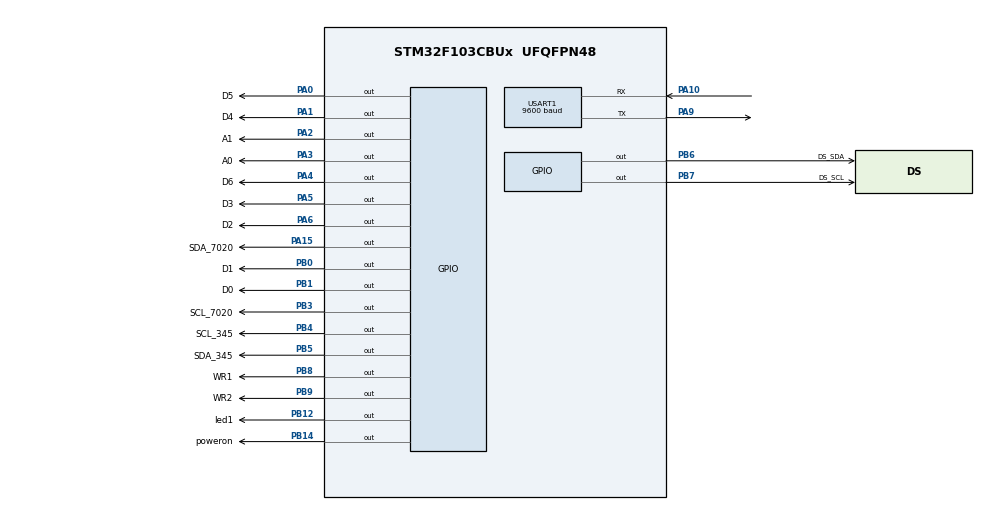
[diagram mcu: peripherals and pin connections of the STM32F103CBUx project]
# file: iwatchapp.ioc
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Mcu.Family=STM32F1
Mcu.Name=STM32F103CBUx
Mcu.Package=UFQFPN48
NVIC.PriorityGroup=NVIC_PRIORITYGROUP_4
NVIC.TIM2_IRQn=true\:0\:0\:false\:false\:true\:true
NVIC.USART1_IRQn=true\:0\:0\:false\:false\:true\:true
PA0-WKUP.GPIO_Label=D5
PA0-WKUP.GPIO_Speed=GPIO_SPEED_FREQ_HIGH
PA0-WKUP.Signal=GPIO_Output
PA1.GPIO_Label=D4
PA1.GPIO_Speed=GPIO_SPEED_FREQ_HIGH
PA1.Signal=GPIO_Output
PA10.Mode=Asynchronous
PA10.Signal=USART1_RX
PA13.Mode=Serial_Wire
PA13.Signal=SYS_JTMS-SWDIO
PA14.Mode=Serial_Wire
PA14.Signal=SYS_JTCK-SWCLK
PA15.GPIO_Label=SDA_7020
PA15.GPIO_ModeDefaultOutputPP=GPIO_MODE_OUTPUT_OD
PA15.GPIO_Speed=GPIO_SPEED_FREQ_HIGH
PA15.PinState=GPIO_PIN_SET
PA15.Signal=GPIO_Output
PA2.GPIO_Label=A1
PA2.GPIO_Speed=GPIO_SPEED_FREQ_HIGH
PA2.Signal=GPIO_Output
PA3.GPIO_Label=A0
PA3.GPIO_Speed=GPIO_SPEED_FREQ_HIGH
PA3.Signal=GPIO_Output
PA4.GPIO_Label=D6
PA4.GPIO_Speed=GPIO_SPEED_FREQ_HIGH
PA4.Signal=GPIO_Output
PA5.GPIO_Label=D3
PA5.GPIO_Speed=GPIO_SPEED_FREQ_HIGH
PA5.Signal=GPIO_Output
PA6.GPIO_Label=D2
PA6.GPIO_Speed=GPIO_SPEED_FREQ_HIGH
PA6.Signal=GPIO_Output
PA9.Mode=Asynchronous
PA9.Signal=USART1_TX
PB0.GPIO_Label=D1
PB0.GPIO_Speed=GPIO_SPEED_FREQ_HIGH
PB0.Signal=GPIO_Output
PB1.GPIO_Label=D0
PB1.GPIO_Speed=GPIO_SPEED_FREQ_HIGH
PB1.Signal=GPIO_Output
PB12.GPIO_Label=led1
PB12.PinState=GPIO_PIN_RESET
PB12.Signal=GPIO_Output
PB14.GPIO_Label=poweron
PB14.Signal=GPIO_Output
PB3.GPIO_Label=SCL_7020
PB3.GPIO_ModeDefaultOutputPP=GPIO_MODE_OUTPUT_OD
PB3.GPIO_Speed=GPIO_SPEED_FREQ_HIGH
PB3.PinState=GPIO_PIN_SET
PB3.Signal=GPIO_Output
PB4.GPIO_Label=SCL_345
PB4.GPIO_ModeDefaultOutputPP=GPIO_MODE_OUTPUT_OD
PB4.GPIO_Speed=GPIO_SPEED_FREQ_HIGH
PB4.PinState=GPIO_PIN_SET
PB4.Signal=GPIO_Output
PB5.GPIO_Label=SDA_345
PB5.GPIO_ModeDefaultOutputPP=GPIO_MODE_OUTPUT_OD
PB5.GPIO_Speed=GPIO_SPEED_FREQ_HIGH
PB5.PinState=GPIO_PIN_SET
PB5.Signal=GPIO_Output
PB6.GPIO_Label=DS_SDA
PB6.GPIO_ModeDefaultOutputPP=GPIO_MODE_OUTPUT_OD
PB6.GPIO_Speed=GPIO_SPEED_FREQ_HIGH
PB6.PinState=GPIO_PIN_SET
PB6.Signal=GPIO_Output
PB7.GPIO_Label=DS_SCL
PB7.GPIO_ModeDefaultOutputPP=GPIO_MODE_OUTPUT_OD
PB7.GPIO_Speed=GPIO_SPEED_FREQ_HIGH
PB7.PinState=GPIO_PIN_SET
PB7.Signal=GPIO_Output
PB8.GPIO_Label=WR1
PB8.GPIO_ModeDefaultOutputPP=GPIO_MODE_OUTPUT_PP
PB8.GPIO_Speed=GPIO_SPEED_FREQ_HIGH
PB8.PinState=GPIO_PIN_RESET
PB8.Signal=GPIO_Output
PB9.GPIO_Label=WR2
PB9.GPIO_ModeDefaultOutputPP=GPIO_MODE_OUTPUT_OD
PB9.GPIO_Speed=GPIO_SPEED_FREQ_HIGH
PB9.PinState=GPIO_PIN_SET
PB9.Signal=GPIO_Output
ProjectManager.HeapSize=0x200
ProjectManager.StackSize=0x400
ProjectManager.TargetToolchain=MDK-ARM V5
RCC.APB1Freq_Value=8000000
RCC.APB2Freq_Value=8000000
TIM2.Period=100
TIM2.Prescaler=80
USART1.BaudRate=9600
USART1.VirtualMode=VM_ASYNC
VP_TIM2_VS_ClockSourceINT.Mode=Internal
board=custom

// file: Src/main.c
/* USER CODE BEGIN Header */
/**
  ******************************************************************************
  * @file           : main.c
  * @brief          : Main program body
  ******************************************************************************
  ** This notice applies to any and all portions of this file
  * that are not between comment pairs USER CODE BEGIN and
  * USER CODE END. Other portions of this file, whether
  * inserted by the user or by software development tools
  * are owned by their respective copyright owners.
  *
  * COPYRIGHT(c) 2020 STMicroelectronics
  *
  * Redistribution and use in source and binary forms, with or without modification,
  * are permitted provided that the following conditions are met:
  *   1. Redistributions of source code must retain the above copyright notice,
  *      this list of conditions and the following disclaimer.
  *   2. Redistributions in binary form must reproduce the above copyright notice,
  *      this list of conditions and the following disclaimer in the documentation
  *      and/or other materials provided with the distribution.
  *   3. Neither the name of STMicroelectronics nor the names of its contributors
  *      may be used to endorse or promote products derived from this software
  *      without specific prior written permission.
  *
  * THIS SOFTWARE IS PROVIDED BY THE COPYRIGHT HOLDERS AND CONTRIBUTORS "AS IS"
  * AND ANY EXPRESS OR IMPLIED WARRANTIES, INCLUDING, BUT NOT LIMITED TO, THE
  * IMPLIED WARRANTIES OF MERCHANTABILITY AND FITNESS FOR A PARTICULAR PURPOSE ARE
  * DISCLAIMED. IN NO EVENT SHALL THE COPYRIGHT HOLDER OR CONTRIBUTORS BE LIABLE
  * FOR ANY DIRECT, INDIRECT, INCIDENTAL, SPECIAL, EXEMPLARY, OR CONSEQUENTIAL
  * DAMAGES (INCLUDING, BUT NOT LIMITED TO, PROCUREMENT OF SUBSTITUTE GOODS OR
  * SERVICES; LOSS OF USE, DATA, OR PROFITS; OR BUSINESS INTERRUPTION) HOWEVER
  * CAUSED AND ON ANY THEORY OF LIABILITY, WHETHER IN CONTRACT, STRICT LIABILITY,
  * OR TORT (INCLUDING NEGLIGENCE OR OTHERWISE) ARISING IN ANY WAY OUT OF THE USE
  * OF THIS SOFTWARE, EVEN IF ADVISED OF THE POSSIBILITY OF SUCH DAMAGE.
  *
  ******************************************************************************
  */
/* USER CODE END Header */

#include "main.h"

/* USER CODE BEGIN Includes */

#include "stdlib.h"
#include "string.h"
#include "HPDL1414.h"
#include "DS3231.h"
#include "sys.h"
#include "delay.h"
#include "si7020.h"
//#include "mpuiic.h"
#include "myiic.h"
#include "ADXL345.h"
#include <stdio.h>
#include <math.h>
#include "adxl345.h"
#define MAX              0x39            //??????
#define MIN              0x30             //??????
//#include "inv_mpu.h"
//#include "inv_mpu_dmp_motion_driver.h"
/* USER CODE END Includes */

/* USER CODE BEGIN PTD */
void showTemperture(void);
void showHumidity(void);
void showtime(void);
void showdata(void);
//void showtemp(void);
void showweek(void);
void hextoascii(int16_t num,u8 *word);
void showfrist(void);
unsigned int random(void);
void init_all(void);
void weakupshow(void);
//void wifi_bt_on(void);
void SendAtCommand(char *patcm);
void Sendword(char *patcm);
void showsteps(void);
void getzero(void);
void SleepMode_Measure(void);
/* USER CODE END PTD */

TIM_HandleTypeDef htim2;

UART_HandleTypeDef huart1;

void SystemClock_Config(void);
static void MX_GPIO_Init(void);
static void MX_USART1_UART_Init(void);
static void MX_TIM2_Init(void);

/* USER CODE BEGIN 0 */
struct stuff{
        char time;
        char Temperture;
	      char Humidity;
	      char jd;
	      char onshow;
	      char okon;//用于限制0度时一直显示
	      char bluetoothon;
	      char steps;
}flag;
u8  Angle[6];
u8 aacx[2];
u8 word1[8]={' ',' ',' ',' ',' ',' ',' ',' '};
char *wifi1="RAYPAI";
char *code1="56831513";
int v=40;
short test2=0;
int16_t Temperture=0;
int16_t Temperture1=0;
int16_t Humidity=0;
int16_t Humidity1=0;
int16_t t1=0;
int daytemp=0;//用于判断是否过了一天，如果过了一天则清零步数
int timenum=0;
int stepsnum=0;
int buletoothnum=0;
char jdnum=0;
int16_t onshownum=0;
int RxBuffernum=0;
char breakflag=0;
char StartRx0=0;//防止串口被打断
int16_t Temperturenum=0;
u8 rbuf[6];
uint8_t blueTxBuffer[20];
uint8_t wifiTxBuffer[200];
uint8_t blueRxBuffer[20];
uint8_t wifiRxBuffer[200];
u8 devid=0;

/* 传感器数据修正值（消除芯片固定误差） */
/* 坐标角度结构体 */
short int Acc_X=0,Acc_Y=0,Acc_Z=0;
double Angle_X=0,Angle_Y=0,Angle_Z=0;
//void ADXL345_Get_Angle(ADXL345_Angle *data);
//int16_t Humiditynum=0;
/* USER CODE END 0 */

int main(void)
{
  /* USER CODE BEGIN 1 */
  //	MPU6050_Angle data;
  //	int i=0;
  flag.time=0;
  flag.Humidity=0;
  flag.Temperture=0;
	 flag.onshow=0;
	 flag.jd=0;
  /* USER CODE END 1 */

  /* MCU Configuration--------------------------------------------------------*/

  /* Reset of all peripherals, Initializes the Flash interface and the Systick. */
  HAL_Init();

  /* Configure the system clock */
  SystemClock_Config();

  /* Initialize all configured peripherals */
  MX_GPIO_Init();
  MX_USART1_UART_Init();
  MX_TIM2_Init();
  /* USER CODE BEGIN 2 */
  HAL_TIM_Base_Start_IT(&htim2);
	//HAL_UART_Receive_IT(&huart3,(uint8_t *)&wifiRxBuffer[RxBuffernum],1);
	showfrist();
	init_all();
	SleepMode_Measure();
//	getzero();
	//HAL_GPIO_WritePin(GPIOB, poweron_Pin, GPIO_PIN_SET);
//	wifi_bt_on();

  /* USER CODE END 2 */

  /* Infinite loop */
  /* USER CODE BEGIN WHILE */
  while (1)
  {
if(flag.bluetoothon==1)
{
			if(HAL_UART_Receive_IT(&huart1,(uint8_t *)&blueRxBuffer,15)==0)	//命令要发两遍
  {
  if(blueRxBuffer[0]==0x54)
	{
	//HAL_UART_Receive_IT(&huart1,(uint8_t *)&aRxBuffer+1,14);
	if((blueRxBuffer[1]==0x01)&&(blueRxBuffer[14]==0x64))
	{
    blueRxBuffer[3]=(blueRxBuffer[3]/16)*10+(blueRxBuffer[3]%16);
 	  blueRxBuffer[4]=(blueRxBuffer[4]/16)*10+(blueRxBuffer[4]%16);
		blueRxBuffer[5]=(blueRxBuffer[5]/16)*10+(blueRxBuffer[5]%16);
		blueRxBuffer[6]=(blueRxBuffer[6]/16)*10+(blueRxBuffer[6]%16);
		blueRxBuffer[7]=(blueRxBuffer[7]/16)*10+(blueRxBuffer[7]%16);
		blueRxBuffer[8]=(blueRxBuffer[8]/16)*10+(blueRxBuffer[8]%16);
		blueRxBuffer[9]=(blueRxBuffer[9]/16)*10+(blueRxBuffer[9]%16);
    DS3231_Set(blueRxBuffer[3],blueRxBuffer[4],blueRxBuffer[5],blueRxBuffer[6],blueRxBuffer[7],blueRxBuffer[8],blueRxBuffer[9]);
		memset(blueRxBuffer,0x00,20);
		get_show_time();
		HAL_GPIO_WritePin(GPIOB, led1_Pin, GPIO_PIN_SET);
	  flag.onshow=1;//开显示
		//flag.bluetoothon=1;//开蓝牙
		flag.okon=0;  //关闭标志位用来限制一直显示
		showfrist();
    calendar.hour&=0x3f;
    word1[0]=BCD2ASC_H(calendar.hour);
    word1[1]=BCD2ASC_L(calendar.hour);
    word1[2]='-';
    word1[3]=BCD2ASC_H(calendar.min);
    word1[4]=BCD2ASC_L(calendar.min);
    word1[5]='-';
    word1[6]=BCD2ASC_H(calendar.sec);
    word1[7]=BCD2ASC_L(calendar.sec);
    HPDL1414_show(word1);
		weakupshow();
  }
	}
  if(blueRxBuffer[0]=='O'&&blueRxBuffer[1]=='K')
		{
			memset(blueRxBuffer,0x00,20);
		}
      memset(blueRxBuffer,0x00,20);
  }

}

	if(flag.jd==1)
	{
    flag.jd=0;
		ADXL345_Read_Angle();
		//jibu
		if((Angle[2]=='-')&&(Angle[3]>=0x10))
		{
		flag.steps=1;
		}
		if((Angle[2]==' ')&&(flag.steps==1)&&(Angle[3]>=0x10))
		{
		flag.steps=0;
		stepsnum++;
    if(stepsnum>=50000)
		{
		stepsnum=0;
		}
		}

		//huanxing
		if((Angle[3]<0x15)&&(Angle[2]==' '))
		{
		if(flag.okon==1)
		{
		get_show_time();
		HAL_GPIO_WritePin(GPIOB, led1_Pin, GPIO_PIN_SET);
		flag.onshow=1;//开显示
		flag.bluetoothon=1;//开蓝牙
		MX_USART1_UART_Init();
	  HAL_GPIO_WritePin(GPIOB,poweron_Pin, GPIO_PIN_SET);
   	HAL_GPIO_WritePin(GPIOA, GPIO_PIN_10, GPIO_PIN_SET);
    HAL_GPIO_WritePin(GPIOA, GPIO_PIN_9, GPIO_PIN_SET);
	  __HAL_RCC_GPIOA_CLK_ENABLE();
    MX_USART1_UART_Init();
		flag.okon=0;  //关闭标志位用来限制一直显示
		showfrist();
    calendar.hour&=0x3f;
    word1[0]=BCD2ASC_H(calendar.hour);
    word1[1]=BCD2ASC_L(calendar.hour);
    word1[2]='-';
    word1[3]=BCD2ASC_H(calendar.min);
    word1[4]=BCD2ASC_L(calendar.min);
    word1[5]='-';
    word1[6]=BCD2ASC_H(calendar.sec);
    word1[7]=BCD2ASC_L(calendar.sec);
    HPDL1414_show(word1);
		}
		}
		else if((Angle[3]>0x2d))
		{
		flag.okon=1;
		}
	}
   if(flag.onshow==1)
	 {
	  weakupshow();
	 }
	 else
	 {

	 }
	//SleepMode_Measure();//digonghao
//led1_Pin
	//HAL_GPIO_WritePin(GPIOB, poweron_Pin, GPIO_PIN_RESET);
    /* USER CODE END WHILE */

  }
}

void SystemClock_Config(void)
{
  RCC_OscInitTypeDef RCC_OscInitStruct = {0};
  RCC_ClkInitTypeDef RCC_ClkInitStruct = {0};

  /**Initializes the CPU, AHB and APB busses clocks
  */
  RCC_OscInitStruct.OscillatorType = RCC_OSCILLATORTYPE_HSI;
  RCC_OscInitStruct.HSIState = RCC_HSI_ON;
  RCC_OscInitStruct.HSICalibrationValue = RCC_HSICALIBRATION_DEFAULT;
  RCC_OscInitStruct.PLL.PLLState = RCC_PLL_NONE;
  if (HAL_RCC_OscConfig(&RCC_OscInitStruct) != HAL_OK)
  {
    Error_Handler();
  }
  /**Initializes the CPU, AHB and APB busses clocks
  */
  RCC_ClkInitStruct.ClockType = RCC_CLOCKTYPE_HCLK|RCC_CLOCKTYPE_SYSCLK
                              |RCC_CLOCKTYPE_PCLK1|RCC_CLOCKTYPE_PCLK2;
  RCC_ClkInitStruct.SYSCLKSource = RCC_SYSCLKSOURCE_HSI;
  RCC_ClkInitStruct.AHBCLKDivider = RCC_SYSCLK_DIV1;
  RCC_ClkInitStruct.APB1CLKDivider = RCC_HCLK_DIV1;
  RCC_ClkInitStruct.APB2CLKDivider = RCC_HCLK_DIV1;

  if (HAL_RCC_ClockConfig(&RCC_ClkInitStruct, FLASH_LATENCY_0) != HAL_OK)
  {
    Error_Handler();
  }
}

static void MX_TIM2_Init(void)
{

  TIM_ClockConfigTypeDef sClockSourceConfig = {0};
  TIM_MasterConfigTypeDef sMasterConfig = {0};

  htim2.Instance = TIM2;
  htim2.Init.Prescaler = 80;
  htim2.Init.CounterMode = TIM_COUNTERMODE_UP;
  htim2.Init.Period = 100;
  htim2.Init.ClockDivision = TIM_CLOCKDIVISION_DIV1;
  htim2.Init.AutoReloadPreload = TIM_AUTORELOAD_PRELOAD_DISABLE;
  if (HAL_TIM_Base_Init(&htim2) != HAL_OK)
  {
    Error_Handler();
  }
  sClockSourceConfig.ClockSource = TIM_CLOCKSOURCE_INTERNAL;
  if (HAL_TIM_ConfigClockSource(&htim2, &sClockSourceConfig) != HAL_OK)
  {
    Error_Handler();
  }
  sMasterConfig.MasterOutputTrigger = TIM_TRGO_RESET;
  sMasterConfig.MasterSlaveMode = TIM_MASTERSLAVEMODE_DISABLE;
  if (HAL_TIMEx_MasterConfigSynchronization(&htim2, &sMasterConfig) != HAL_OK)
  {
    Error_Handler();
  }

}

static void MX_USART1_UART_Init(void)
{

  huart1.Instance = USART1;
  huart1.Init.BaudRate = 9600;
  huart1.Init.WordLength = UART_WORDLENGTH_8B;
  huart1.Init.StopBits = UART_STOPBITS_1;
  huart1.Init.Parity = UART_PARITY_NONE;
  huart1.Init.Mode = UART_MODE_TX_RX;
  huart1.Init.HwFlowCtl = UART_HWCONTROL_NONE;
  huart1.Init.OverSampling = UART_OVERSAMPLING_16;
  if (HAL_UART_Init(&huart1) != HAL_OK)
  {
    Error_Handler();
  }

}

static void MX_GPIO_Init(void)
{
  GPIO_InitTypeDef GPIO_InitStruct = {0};

  /* GPIO Ports Clock Enable */
  __HAL_RCC_GPIOA_CLK_ENABLE();
  __HAL_RCC_GPIOB_CLK_ENABLE();

  /*Configure GPIO pin Output Level */
  HAL_GPIO_WritePin(GPIOA, D5_Pin|D4_Pin|A1_Pin|A0_Pin
                          |D6_Pin|D3_Pin|D2_Pin, GPIO_PIN_RESET);

  /*Configure GPIO pin Output Level */
  HAL_GPIO_WritePin(GPIOB, D1_Pin|D0_Pin|led1_Pin|poweron_Pin
                          |WR1_Pin, GPIO_PIN_RESET);

  /*Configure GPIO pin Output Level */
  HAL_GPIO_WritePin(SDA_7020_GPIO_Port, SDA_7020_Pin, GPIO_PIN_SET);

  /*Configure GPIO pin Output Level */
  HAL_GPIO_WritePin(GPIOB, SCL_7020_Pin|SCL_345_Pin|SDA_345_Pin|DS_SDA_Pin
                          |DS_SCL_Pin|WR2_Pin, GPIO_PIN_SET);

  /*Configure GPIO pins : D5_Pin D4_Pin A1_Pin A0_Pin
                           D6_Pin D3_Pin D2_Pin */
  GPIO_InitStruct.Pin = D5_Pin|D4_Pin|A1_Pin|A0_Pin
                          |D6_Pin|D3_Pin|D2_Pin;
  GPIO_InitStruct.Mode = GPIO_MODE_OUTPUT_PP;
  GPIO_InitStruct.Pull = GPIO_NOPULL;
  GPIO_InitStruct.Speed = GPIO_SPEED_FREQ_HIGH;
  HAL_GPIO_Init(GPIOA, &GPIO_InitStruct);

  /*Configure GPIO pins : D1_Pin D0_Pin WR1_Pin */
  GPIO_InitStruct.Pin = D1_Pin|D0_Pin|WR1_Pin;
  GPIO_InitStruct.Mode = GPIO_MODE_OUTPUT_PP;
  GPIO_InitStruct.Pull = GPIO_NOPULL;
  GPIO_InitStruct.Speed = GPIO_SPEED_FREQ_HIGH;
  HAL_GPIO_Init(GPIOB, &GPIO_InitStruct);

  /*Configure GPIO pins : led1_Pin poweron_Pin */
  GPIO_InitStruct.Pin = led1_Pin|poweron_Pin;
  GPIO_InitStruct.Mode = GPIO_MODE_OUTPUT_PP;
  GPIO_InitStruct.Pull = GPIO_NOPULL;
  GPIO_InitStruct.Speed = GPIO_SPEED_FREQ_LOW;
  HAL_GPIO_Init(GPIOB, &GPIO_InitStruct);

  /*Configure GPIO pin : SDA_7020_Pin */
  GPIO_InitStruct.Pin = SDA_7020_Pin;
  GPIO_InitStruct.Mode = GPIO_MODE_OUTPUT_OD;
  GPIO_InitStruct.Pull = GPIO_NOPULL;
  GPIO_InitStruct.Speed = GPIO_SPEED_FREQ_HIGH;
  HAL_GPIO_Init(SDA_7020_GPIO_Port, &GPIO_InitStruct);

  /*Configure GPIO pins : SCL_7020_Pin SCL_345_Pin SDA_345_Pin DS_SDA_Pin
                           DS_SCL_Pin WR2_Pin */
  GPIO_InitStruct.Pin = SCL_7020_Pin|SCL_345_Pin|SDA_345_Pin|DS_SDA_Pin
                          |DS_SCL_Pin|WR2_Pin;
  GPIO_InitStruct.Mode = GPIO_MODE_OUTPUT_OD;
  GPIO_InitStruct.Pull = GPIO_NOPULL;
  GPIO_InitStruct.Speed = GPIO_SPEED_FREQ_HIGH;
  HAL_GPIO_Init(GPIOB, &GPIO_InitStruct);

}

/* USER CODE BEGIN 4 */

void SleepMode_Measure(void)
{

  HAL_SuspendTick();

  HAL_PWR_EnterSLEEPMode(PWR_MAINREGULATOR_ON, PWR_SLEEPENTRY_WFI);

  HAL_ResumeTick();

  HAL_Delay(200);
}

void HAL_TIM_PeriodElapsedCallback(TIM_HandleTypeDef *htim)

{
    if (htim->Instance == htim2.Instance)

 {

			  flag.jd=1;
			if(	flag.onshow==1)
	  {
			flag.jd=0;
			timenum++;
			if(timenum==8100)
			{
			timenum=0;
			flag.onshow=0;
			}
	  }
		if(flag.bluetoothon==1)
		{
			buletoothnum++;
			if(buletoothnum==45000)//60秒蓝牙结束后关闭电源
			{
				buletoothnum=0;
				flag.bluetoothon=0;
		    getzero();
			}
		}

  }
}

void getzero()
{
	  GPIO_InitTypeDef GPIO_InitStruct = {0};

  /* GPIO Ports Clock Enable */
  __HAL_RCC_GPIOA_CLK_ENABLE();
  //__HAL_RCC_GPIOB_CLK_ENABLE();

		    HAL_GPIO_WritePin(GPIOB, poweron_Pin, GPIO_PIN_RESET);
				HAL_GPIO_WritePin(GPIOA, GPIO_PIN_10, GPIO_PIN_RESET);
				HAL_GPIO_WritePin(GPIOA, GPIO_PIN_9, GPIO_PIN_RESET);
 GPIO_InitStruct.Pin = GPIO_PIN_10|GPIO_PIN_9;
  GPIO_InitStruct.Mode = GPIO_MODE_OUTPUT_PP;
  GPIO_InitStruct.Pull = GPIO_NOPULL;
  GPIO_InitStruct.Speed = GPIO_SPEED_FREQ_HIGH;
  HAL_GPIO_Init(GPIOA, &GPIO_InitStruct);
}

/*
void HAL_SYSTICK_Callback(void)
{

}*/

unsigned int random()
{
  unsigned int value;

    value=rand()%(MAX-MIN+1)+MIN;               //???????(1-16)

  return value;
}

void hextoascii(int16_t num,u8 *word)
{
	word[6]=(num%10)+0x30;
  word[4]=(num/10%10)+0x30;
	word[3]=(num/100%10)+0x30;
}

void HPDL1414_INT()
{
HPDL1414_show(word1);
//P1_1;
//P2_1;
}
void showsteps()
{
	     // stepsnum=9;
	    	word1[7]=(stepsnum%10)+0x30;
        word1[6]=(stepsnum/10%10)+0x30;
	      word1[5]=(stepsnum/100%10)+0x30;
	      word1[4]=(stepsnum/1000%100)+0x30;
	      word1[3]=(stepsnum/1000%100)+0x30;
	    if(stepsnum<10)
			{
			 word1[6]=' ';
				word1[5]=' ';
				word1[4]=' ';
				word1[3]=' ';
			}
	    else if(stepsnum>=10)
      {

				word1[5]=' ';
				word1[4]=' ';
				word1[3]=' ';
			}
      else if(stepsnum>=100)
			{
				word1[4]=' ';
				word1[3]=' ';
			}
      else if(stepsnum>=1000)
			{
			  word1[3]=' ';
			}
      else if(stepsnum>=10000)
			{

			}
			word1[0]='S';
			word1[1]='T';
			word1[2]='P';

			HPDL1414_show(word1);
}
void showHumidity()
{
Humidity=SI7020_Read_Humidity();
if(((Humidity&0x0fff)==0x01fa)||((Humidity&0x0fff)==0x04a1))
			{
			Humidity=Humidity1;
			}
			else
			{
			Humidity1=Humidity;
			}
      hextoascii(Humidity,word1);
			word1[0]='H';
			word1[1]=' ';
			word1[2]=' ';
			word1[5]='.';
			word1[7]='%';
			HPDL1414_show(word1);
}

void showTemperture()
{

	Temperture=SI7020_Read_Temperture();
	if((Temperture&0x0fff)==0x0e2c)
			{
			Temperture=Temperture1;
			}
			else
			{
			Temperture1=Temperture;
			}
	    hextoascii(Temperture,word1);
			word1[0]='T';
			word1[1]=' ';
			word1[2]=' ';
			word1[5]='.';
			word1[7]='C';
			HPDL1414_show(word1);
}

void showweek()
{
	switch(calendar.week)
{
    case 0x01:
		word1[0]='M';
		word1[1]='O';
		word1[2]='N';
		   break;
    case 0x02:
		word1[0]='T';
		word1[1]='E';
		word1[2]='U';
       break;
    case 0x03:
    word1[0]='W';
		word1[1]='E';
		word1[2]='D';
       break;
		case 0x04:
    word1[0]='T';
		word1[1]='H';
		word1[2]='U';
       break;
		case 0x05:
		word1[0]='F';
		word1[1]='R';
		word1[2]='I';
       break;
		case 0x06:
		word1[0]='S';
		word1[1]='A';
		word1[2]='T';
       break;
		case 0x07:
		word1[0]='S';
		word1[1]='U';
		word1[2]='N';
	     break;
    default : break;
}
    word1[3]=' ';
    word1[4]=' ';
    word1[5]=' ';
	  word1[6]=' ';
	  word1[7]=' ';
    HPDL1414_show(word1);
}
void showdata()
{
//get_show_time();
word1[0]=BCD2ASC_H(calendar.w_year);
word1[1]=BCD2ASC_L(calendar.w_year);
word1[2]='-';
word1[3]=BCD2ASC_H(calendar.w_month);
word1[4]=BCD2ASC_L(calendar.w_month);
word1[5]='-';
word1[6]=BCD2ASC_H(calendar.w_date);
word1[7]=BCD2ASC_L(calendar.w_date);
//calendar.week=I2cByteRead(0x03);
//calendar.week=BCD2HEX(calendar.week);
HPDL1414_show(word1);
}

void showtime()
{
get_show_time();
calendar.hour&=0x3f;
word1[0]=BCD2ASC_H(calendar.hour);
word1[1]=BCD2ASC_L(calendar.hour);
word1[2]='-';
word1[3]=BCD2ASC_H(calendar.min);
word1[4]=BCD2ASC_L(calendar.min);
word1[5]='-';
word1[6]=BCD2ASC_H(calendar.sec);
word1[7]=BCD2ASC_L(calendar.sec);
HPDL1414_show(word1);
}
void showfrist()
{

	HAL_GPIO_WritePin(GPIOB, led1_Pin, GPIO_PIN_SET);
	int i=0;
	for(i=0;i<8;i++)
	{
    word1[i]='-';
	}
	for(i=0;i<8;i++)
	{
    word1[i]=0x29;
		HPDL1414_show(word1);
		delay_ms(300);
	}
	for(i=0;i<12;i++)
	{
    word1[0]=random();
		word1[1]=random();
		word1[2]='-';
		word1[3]=random();
		word1[4]=random();
		word1[5]='-';
		word1[6]=random();
		word1[7]=random();
		HPDL1414_show(word1);
		delay_ms(200);
	}

}

void init_all()
{
	flag.bluetoothon=1;
	MX_USART1_UART_Init();
	HAL_GPIO_WritePin(GPIOB,poweron_Pin, GPIO_PIN_SET);
 	HAL_GPIO_WritePin(GPIOA, GPIO_PIN_10, GPIO_PIN_SET);
  HAL_GPIO_WritePin(GPIOA, GPIO_PIN_9, GPIO_PIN_SET);
	__HAL_RCC_GPIOA_CLK_ENABLE();
  MX_USART1_UART_Init();
	word1[0]='I';
  word1[1]='N';
	word1[2]='I';
	word1[3]='T';
	word1[4]=' ';
	word1[5]='N';
	word1[6]='O';
	word1[7]='W';
	HPDL1414_show(word1);
	ADXL345_Init();

  //Init_ADXL345();
	//delay_ms(100);
	HPDL1414_INT();
  DS3231_Init(); 					   //??????IIC2???
	SI7020_Init();
	DS3231_Set(20,10,3,6,19,15,18);

	word1[0]='S';
  word1[1]='T';
	word1[2]='R';
	word1[3]='A';
	word1[4]='T';
	word1[5]=' ';
	word1[6]='O';
	word1[7]='K';
	HPDL1414_show(word1);
	delay_ms(500);
	delay_ms(500);
	//Init_ADXL345();
	//devid=Single_Read_ADXL345(0X00);	//读出的数据为0XE5,表示正确
	//showtime();
	HAL_GPIO_WritePin(GPIOB, led1_Pin, GPIO_PIN_RESET);

  word1[0]=' ';
  word1[1]=' ';
	word1[2]=' ';
	word1[3]=' ';
	word1[4]=' ';
	word1[5]=' ';
	word1[6]=' ';
	word1[7]=' ';
	HPDL1414_show(word1);
	flag.okon=1;//使能显示
	WR1_0;
	WR2_0;
	A1_0;
	A0_0;
	D0_0;
	D1_0;
	D2_0;
	D3_0;
	D4_0;
	D5_0;
	D6_0;

}
void HAL_UART_RxCpltCallback(UART_HandleTypeDef *huart)
{
	/*
 if(huart->Instance==USART3)
{
   if(StartRx0==0)
    {

		 RxBuffernum++;
			AL_UART_Receive_IT(&huart3,(uint8_t *)&wifiRxBuffer[RxBuffernum],1);
			 	  if(RxBuffernum>189)
		   {
				RxBuffernum=0;
			  breakflag=1;
		    StartRx0=1;
				memset(wifiRxBuffer,0x00,189);
	      memset(wifiTxBuffer,0x00,189);
		   }

	  */
	/*	else if(wifiRxBuffer[0]=='T')
        {

				 HAL_UART_Receive_IT(&huart3,(uint8_t *)&wifiRxBuffer[RxBuffernum],1);
		     RxBuffernum++;
			 	  if(RxBuffernum>189)
		   {
				RxBuffernum=0;
			  breakflag=1;
		    StartRx0=1;
				memset(wifiRxBuffer,0x00,189);
	      memset(wifiTxBuffer,0x00,189);
		   }

				}*/
	/*		 }
		else{
		HAL_UART_Receive_IT(&huart3,(uint8_t *)&wifiRxBuffer[RxBuffernum],1);

		}

} */

}
/*
void wifi_bt_on()
{
	int k,i;
	int flag1=0;
	HAL_UART_Receive_IT(&huart3,(uint8_t *)&wifiRxBuffer[RxBuffernum],1);
	///////////////////////at
	SendAtCommand("AT\r\n");
	delay_ms(1000);
	Sendword("W-------");
	delay_ms(1000);
	delay_ms(1000);
				Sendword("WA------");
				delay_ms(1000);
				delay_ms(1000);
				Sendword("WAI-----");
				delay_ms(1000);
				delay_ms(1000);
				Sendword("WAIT----");
				delay_ms(1000);
				delay_ms(1000);
				Sendword("WAIT.---");
				delay_ms(1000);
				delay_ms(1000);
				Sendword("WAIT..--");
				delay_ms(1000);
				delay_ms(1000);
				Sendword("WAIT...-");
				delay_ms(1000);
				delay_ms(1000);
				Sendword("WAIT....");
				delay_ms(1000);
				delay_ms(1000);
				memset(wifiRxBuffer,0x00,99);
	      memset(wifiTxBuffer,0x00,99);
		////////////////////////////////切换模式
  SendAtCommand("AT+CWMODE_DEF=3\r\n");
  delay_ms(1000);
	Sendword("W-------");
	delay_ms(1000);
	delay_ms(1000);
				Sendword("WA------");
				delay_ms(1000);
				delay_ms(1000);
				Sendword("WAI-----");
				delay_ms(1000);
				delay_ms(1000);
				Sendword("WAIT----");
				delay_ms(1000);
				delay_ms(1000);
				Sendword("WAIT.---");
				delay_ms(1000);
				delay_ms(1000);
				Sendword("WAIT..--");
				delay_ms(1000);
				delay_ms(1000);
				Sendword("WAIT...-");
				delay_ms(1000);
				delay_ms(1000);
				Sendword("WAIT....");
				delay_ms(1000);
				delay_ms(1000);
      	memset(wifiRxBuffer,0x00,99);
	      memset(wifiTxBuffer,0x00,99);
				delay_ms(1000);
				delay_ms(1000);
					Sendword("W-------");
	delay_ms(1000);
	delay_ms(1000);
				Sendword("WA------");
				delay_ms(1000);
				delay_ms(1000);
				Sendword("WAI-----");
				delay_ms(1000);
				delay_ms(1000);
				Sendword("WAIT----");
				delay_ms(1000);
				delay_ms(1000);
				Sendword("WAIT.---");
				delay_ms(1000);
				delay_ms(1000);
				Sendword("WAIT..--");
				delay_ms(1000);
				delay_ms(1000);
				Sendword("WAIT...-");
				delay_ms(1000);
				delay_ms(1000);
				Sendword("WAIT....");
				delay_ms(1000);
				delay_ms(1000);
      	memset(wifiRxBuffer,0x00,99);
	      memset(wifiTxBuffer,0x00,99);
				delay_ms(1000);
				delay_ms(1000);
	///////////////////////////////	联网

  memcpy(wifiTxBuffer,"AT+CWJAP_DEF=",13);
  wifiTxBuffer[13]='"';
	memcpy(wifiTxBuffer+14,wifi1,strlen(wifi1));
	wifiTxBuffer[14+strlen(wifi1)]='"';
	wifiTxBuffer[15+strlen(wifi1)]=',';
	wifiTxBuffer[16+strlen(wifi1)]='"';
	memcpy(wifiTxBuffer+17+strlen(wifi1),code1,strlen(code1));
	wifiTxBuffer[17+strlen(wifi1)+strlen(code1)]='"';
	wifiTxBuffer[18+strlen(wifi1)+strlen(code1)]=0X0D;
	wifiTxBuffer[19+strlen(wifi1)+strlen(code1)]=0X0A;
  HAL_UART_Transmit_IT(&huart3 ,(uint8_t*)wifiTxBuffer,20+strlen(wifi1)+strlen(code1));
  //HAL_UART_Receive_IT(&huart3,(uint8_t *)&wifiRxBuffer[RxBuffernum],1);
//	SendAtCommand("AT\r\n");
	delay_ms(1000);
  for(i=0;i<6;i++)
		{
				Sendword("W-------");
				delay_ms(1000);
					delay_ms(1000);
				Sendword("WA------");
				delay_ms(1000);
					delay_ms(1000);
				Sendword("WAI-----");
				delay_ms(1000);
					delay_ms(1000);
				Sendword("WAIT----");
				delay_ms(1000);
					delay_ms(1000);
				Sendword("WAIT.---");
				delay_ms(1000);
					delay_ms(1000);
				Sendword("WAIT..--");
				delay_ms(1000);
					delay_ms(1000);
				Sendword("WAIT...-");
				delay_ms(1000);
						delay_ms(1000);
				Sendword("WAIT....");
				delay_ms(1000);
						delay_ms(1000);
				for(k=40;k<129;k++)
         {
				 if((wifiRxBuffer[k]=='O')&&(wifiRxBuffer[k+1]=='K'))
				  {
					 StartRx0=1;//停止接受
				   breakflag=1;
					 flag1=1;
				   break;
				  }
				 }
				if(breakflag==1)
				{
				RxBuffernum=0;
				break;
				}
		}
		delay_ms(200);
	memset(wifiRxBuffer,0x00,129);
	memset(wifiTxBuffer,0x00,129);

		if(flag1==1)
		{
	memcpy(wifiTxBuffer,"AT+CIPSTART=",12);
  wifiTxBuffer[12]='"';
	memcpy(wifiTxBuffer+13,"TCP",3);
	wifiTxBuffer[16]='"';
	wifiTxBuffer[17]=',';
	wifiTxBuffer[18]='"';
	memcpy(wifiTxBuffer+19,"api.seniverse.com",17);
	wifiTxBuffer[36]='"';
	wifiTxBuffer[37]=',';
	wifiTxBuffer[38]='8';
	wifiTxBuffer[39]='0';
	wifiTxBuffer[40]=0X0D;
	wifiTxBuffer[41]=0X0A;
  HAL_UART_Transmit_IT(&huart3 ,(uint8_t*)wifiTxBuffer,42);

			for(i=0;i<8;i++)
				{
				Sendword("G-------");
				delay_ms(1000);
					delay_ms(1000);
				Sendword("GE------");
				delay_ms(1000);
					delay_ms(1000);
				Sendword("GET-----");
				delay_ms(1000);
					delay_ms(1000);
				Sendword("GET ----");
				delay_ms(1000);
					delay_ms(1000);
				Sendword("GET D---");
				delay_ms(1000);
					delay_ms(1000);
				Sendword("GET DA--");
				delay_ms(1000);
					delay_ms(1000);
				Sendword("GET DAT-");
				delay_ms(1000);
						delay_ms(1000);
				Sendword("GET DATA");
				delay_ms(1000);
						delay_ms(1000);
					}

				SendAtCommand("AT+CIPMODE=1\r\n");

				for(i=0;i<8;i++)
				{
				Sendword("G-------");
				delay_ms(1000);
					delay_ms(1000);
				Sendword("GE------");
				delay_ms(1000);
					delay_ms(1000);
				Sendword("GET-----");
				delay_ms(1000);
					delay_ms(1000);
				Sendword("GET ----");
				delay_ms(1000);
					delay_ms(1000);
				Sendword("GET D---");
				delay_ms(1000);
					delay_ms(1000);
				Sendword("GET DA--");
				delay_ms(1000);
					delay_ms(1000);
				Sendword("GET DAT-");
				delay_ms(1000);
						delay_ms(1000);
				Sendword("GET DATA");
				delay_ms(1000);
						delay_ms(1000);
					}

				SendAtCommand("AT+CIPSEND\r\n");

				for(i=0;i<8;i++)
				{
				Sendword("G-------");
				delay_ms(1000);
					delay_ms(1000);
				Sendword("GE------");
				delay_ms(1000);
					delay_ms(1000);
				Sendword("GET-----");
				delay_ms(1000);
					delay_ms(1000);
				Sendword("GET ----");
				delay_ms(1000);
					delay_ms(1000);
				Sendword("GET D---");
				delay_ms(1000);
					delay_ms(1000);
				Sendword("GET DA--");
				delay_ms(1000);
					delay_ms(1000);
				Sendword("GET DAT-");
				delay_ms(1000);
						delay_ms(1000);
				Sendword("GET DATA");
				delay_ms(1000);
						delay_ms(1000);
					}
				StartRx0=0;//开启接收
				RxBuffernum=0;
				SendAtCommand("GET https://api.seniverse.com/v3/weather/now.json?key=SCMjpaUeMaUGIap5M&location=xian&language=en&unit=c");

				for(i=0;i<8;i++)
				{
				Sendword("G-------");
				delay_ms(1000);
					delay_ms(1000);
				Sendword("GE------");
				delay_ms(1000);
					delay_ms(1000);
				Sendword("GET-----");
				delay_ms(1000);
					delay_ms(1000);
				Sendword("GET ----");
				delay_ms(1000);
					delay_ms(1000);
				Sendword("GET D---");
				delay_ms(1000);
					delay_ms(1000);
				Sendword("GET DA--");
				delay_ms(1000);
					delay_ms(1000);
				Sendword("GET DAT-");
				delay_ms(1000);
						delay_ms(1000);
				Sendword("GET DATA");
				delay_ms(1000);
						delay_ms(1000);
					}
					delay_ms(1000);
		}

}*/
/*
void SendAtCommand(char *patcm)
{
  memcpy(wifiTxBuffer,patcm,strlen(patcm));
  HAL_UART_Transmit_IT(&huart3 ,(uint8_t*)wifiTxBuffer,strlen(patcm));
}
*/
void Sendword(char *patcm)
{
  memcpy(word1,patcm,8);
	HPDL1414_show(word1);
}

void weakupshow()
{

	//int i=0;
		if(timenum==1000)
		{
		showtime();
			if(daytemp==calendar.w_date)
			{

			}
			else
			{
			daytemp=calendar.w_date;
				stepsnum=0;
			}
		}
		else if(timenum==2000)
		{
		showtime();
		}
		else if(timenum==3000)
		{
		 showsteps();
		}
		else if(timenum==4000)
		{
		  showTemperture();
		}
				else if(timenum==5000)
		{
				showHumidity();
		}
				else if(timenum==6000)
		{
				showweek();
		}
    else if(timenum==7000)
		{
		showdata();
		}
		if(timenum>8000)
		{
		HAL_GPIO_WritePin(GPIOB, led1_Pin, GPIO_PIN_RESET);
    word1[0]=' ';
    word1[1]=' ';
	  word1[2]=' ';
	  word1[3]=' ';
   	word1[4]=' ';
	  word1[5]=' ';
  	word1[6]=' ';
	  word1[7]=' ';
	  HPDL1414_show(word1);
	WR1_0;
	WR2_0;
	A1_0;
	A0_0;
	D0_0;
	D1_0;
	D2_0;
	D3_0;
	D4_0;
	D5_0;
	D6_0;
	HAL_GPIO_WritePin(GPIOB, DS_SCL_Pin|DS_SDA_Pin, GPIO_PIN_SET);
		HAL_GPIO_WritePin(GPIOB, SCL_7020_Pin|SDA_7020_Pin, GPIO_PIN_SET);
		SleepMode_Measure();

		}

}

/* USER CODE END 4 */

void Error_Handler(void)
{
}

/************************ (C) COPYRIGHT STMicroelectronics *****END OF FILE****/
